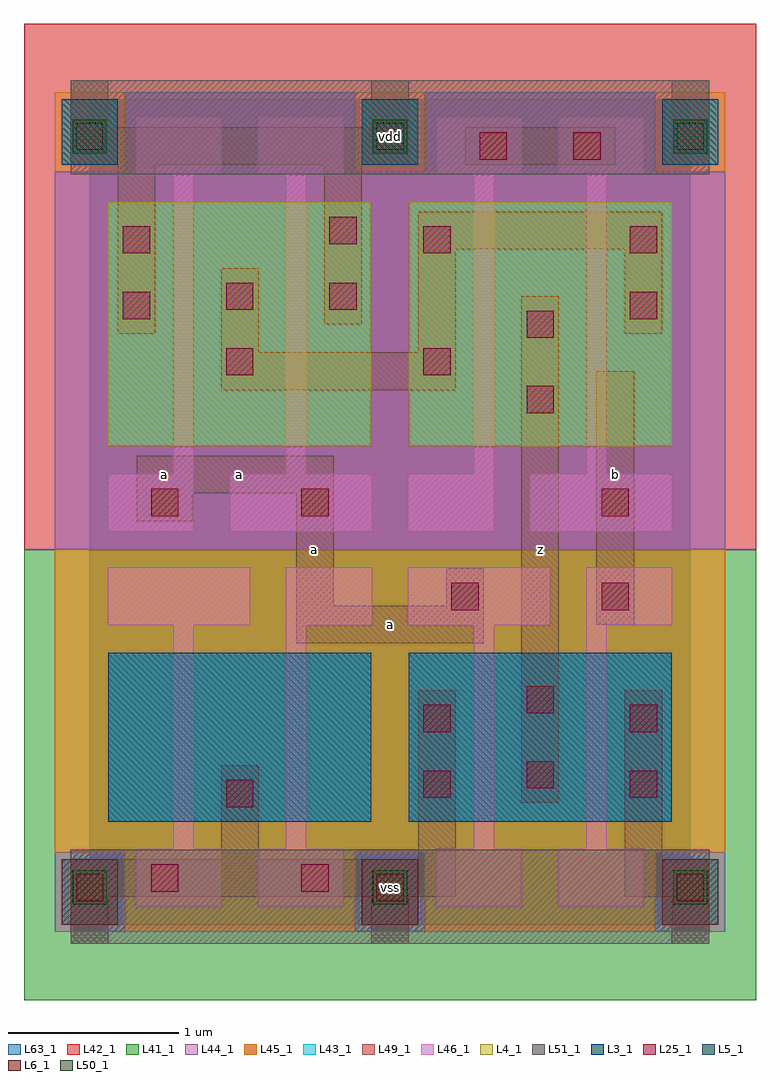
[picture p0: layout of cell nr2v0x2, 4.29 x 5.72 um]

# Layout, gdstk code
import gdstk
lib = gdstk.Library(unit=1e-6, precision=1e-09)
def R(c, l, rs):  # rectangles x0, y0, x1, y1
    for r in rs: c.add(gdstk.rectangle(r[:2], r[2:], *l))
def A(c, l, x, y, w, h, nx, ny, dx, dy):  # array of equal rectangles
    R(c, l, [(x+i*dx, y+j*dy, x+i*dx+w, y+j*dy+h) for i in range(nx) for j in range(ny)])
L3_1 = (3, 1)
L4_1 = (4, 1)
L5_1 = (5, 1)
L6_1 = (6, 1)
L25_1 = (25, 1)
L41_1 = (41, 1)
L42_1 = (42, 1)
L43_1 = (43, 1)
L44_1 = (44, 1)
L45_1 = (45, 1)
L46_1 = (46, 1)
L49_1 = (49, 1)
L50_1 = (50, 1)
L51_1 = (51, 1)
L63_1 = (63, 1)

nr2v0x2 = lib.new_cell('nr2v0x2')
R(nr2v0x2, L3_1, [(0.11,0.605,1.65,1.595), (1.87,0.605,3.41,1.595)])
R(nr2v0x2, L4_1, [(0.11,2.805,1.65,4.235), (1.87,2.805,3.41,4.235)])
A(nr2v0x2, L5_1, -0.165, 4.455, 0.33, 0.385, 3, 1, 1.76, 0)
A(nr2v0x2, L6_1, -0.165, 0, 0.33, 0.385, 3, 1, 1.76, 0)
A(nr2v0x2, L25_1, -0.08, 0.14, 0.16, 0.16, 3, 2, 1.76, 4.4)
R(nr2v0x2, L25_1, [(0.36,0.195,0.52,0.355), (1.24,0.195,1.4,0.355), (0.8,0.69,0.96,0.85), (1.955,0.745,2.115,0.905), (3.165,0.745,3.325,0.905), (2.56,0.8,2.72,0.96), (1.955,1.13,2.115,1.29), (3.165,1.13,3.325,1.29), (2.56,1.24,2.72,1.4), (2.12,1.845,2.28,2.005), (3,1.845,3.16,2.005), (0.36,2.395,0.52,2.555), (1.24,2.395,1.4,2.555), (3,2.395,3.16,2.555), (2.56,3,2.72,3.16), (0.8,3.22,0.96,3.38), (1.955,3.22,2.115,3.38), (2.56,3.44,2.72,3.6), (0.195,3.55,0.355,3.71), (3.165,3.55,3.325,3.71), (0.8,3.605,0.96,3.765), (1.405,3.605,1.565,3.765), (0.195,3.935,0.355,4.095), (1.955,3.935,2.115,4.095), (3.165,3.935,3.325,4.095), (1.405,3.99,1.565,4.15), (2.285,4.485,2.445,4.645), (2.835,4.485,2.995,4.645)])
R(nr2v0x2, L41_1, [(-0.385,-0.44,3.905,2.2)])
R(nr2v0x2, L42_1, [(-0.385,2.2,3.905,5.28)])
A(nr2v0x2, L43_1, -0.165, 0, 0.33, 0.385, 3, 2, 1.76, 4.455)
R(nr2v0x2, L43_1, [(0.11,0.605,1.65,1.595), (1.87,0.605,3.41,1.595), (0.11,2.805,1.65,4.235), (1.87,2.805,3.41,4.235)])
A(nr2v0x2, L44_1, -0.205, -0.04, 0.41, 0.465, 3, 1, 1.76, 0)
R(nr2v0x2, L44_1, [(-0.205,2.2,3.725,4.415), (0.205,4.415,1.555,4.88), (1.965,4.415,3.315,4.88)])
A(nr2v0x2, L45_1, -0.205, 4.415, 0.41, 0.465, 3, 1, 1.76, 0)
R(nr2v0x2, L45_1, [(0.205,-0.04,1.555,0.425), (1.965,-0.04,3.315,0.425), (-0.205,0.425,3.725,2.2)])
R(nr2v0x2, L46_1, [(0.27,0.105,0.775,0.445), (0.985,0.105,1.49,0.445), (2.03,0.105,2.535,0.445), (2.745,0.105,3.25,0.445), (0.49,0.445,0.61,1.755), (1.15,0.445,1.27,1.755), (2.25,0.445,2.37,1.755), (2.91,0.445,3.03,1.755), (0.105,1.755,0.94,2.095), (1.15,1.755,1.655,2.095), (1.865,1.755,2.7,2.095), (2.91,1.755,3.415,2.095), (0.105,2.305,0.61,2.645), (0.82,2.305,1.655,2.645), (1.865,2.305,2.37,2.645), (2.58,2.305,3.415,2.645), (0.49,2.645,0.61,4.395), (1.15,2.645,1.27,4.395), (2.25,2.645,2.37,4.395), (2.91,2.645,3.03,4.395), (0.27,4.395,0.775,4.735), (0.985,4.395,1.49,4.735), (2.03,4.395,2.535,4.735), (2.745,4.395,3.25,4.735)])
A(nr2v0x2, L49_1, -0.11, -0.11, 0.22, 0.275, 3, 1, 1.76, 0)
R(nr2v0x2, L49_1, [(-0.11,0.165,2.145,0.385), (3.135,0.165,3.63,0.385), (0.77,0.385,0.99,0.935), (1.925,0.385,2.145,1.375), (3.135,0.385,3.355,1.375), (2.53,0.715,2.75,3.685), (1.21,1.65,2.31,1.87), (2.97,1.76,3.19,3.245), (1.21,1.87,1.43,2.53), (2.09,1.87,2.31,2.09), (0.275,2.365,0.605,2.53), (0.275,2.53,1.43,2.75), (0.77,3.135,2.145,3.355), (0.77,3.355,0.99,3.85), (1.925,3.355,2.145,3.96), (0.165,3.465,0.385,4.455), (3.135,3.465,3.355,3.96), (1.375,3.52,1.595,4.455), (1.925,3.96,3.355,4.18), (-0.11,4.455,1.87,4.675), (2.2,4.455,3.08,4.675), (3.41,4.455,3.63,4.95), (-0.11,4.675,0.11,4.95), (1.65,4.675,1.87,4.95)])
A(nr2v0x2, L50_1, -0.1, 0.12, 0.2, 0.2, 3, 2, 1.76, 4.4)
R(nr2v0x2, L51_1, [(-0.11,-0.11,3.63,0.44), (-0.11,4.4,3.63,4.95)])
R(nr2v0x2, L63_1, [(0,0,3.52,4.84)])
nr2v0x2.add(gdstk.Label('a', (0.44,2.64), layer=49, texttype=1))
nr2v0x2.add(gdstk.Label('a', (0.88,2.64), layer=49, texttype=1))
nr2v0x2.add(gdstk.Label('a', (1.76,1.76), layer=49, texttype=1))
nr2v0x2.add(gdstk.Label('a', (1.32,2.2), layer=49, texttype=1))
nr2v0x2.add(gdstk.Label('z', (2.64,2.2), layer=49, texttype=1))
nr2v0x2.add(gdstk.Label('b', (3.08,2.64), layer=49, texttype=1))
nr2v0x2.add(gdstk.Label('vss', (1.76,0.22), layer=51, texttype=1))
nr2v0x2.add(gdstk.Label('vdd', (1.76,4.62), layer=51, texttype=1))

lib.write_gds('nr2v0x2.gds')
